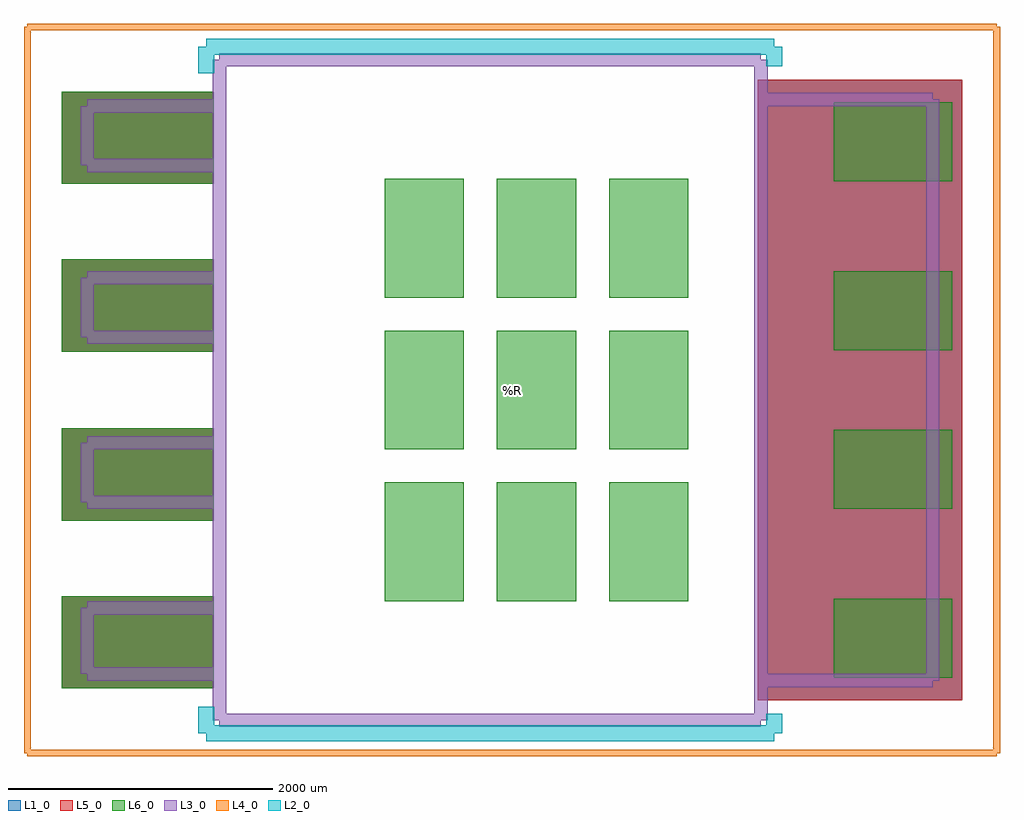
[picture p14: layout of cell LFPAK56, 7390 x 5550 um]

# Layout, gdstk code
import gdstk
lib = gdstk.Library(unit=1e-6, precision=1e-09)
def R(c, l, rs):  # rectangles x0, y0, x1, y1
    for r in rs: c.add(gdstk.rectangle(r[:2], r[2:], *l))
def A(c, l, x, y, w, h, nx, ny, dx, dy):  # array of equal rectangles
    R(c, l, [(x+i*dx, y+j*dy, x+i*dx+w, y+j*dy+h) for i in range(nx) for j in range(ny)])
L1_0 = (1, 0)
L2_0 = (2, 0)
L3_0 = (3, 0)
L4_0 = (4, 0)
L5_0 = (5, 0)
L6_0 = (6, 0)

lfpak56 = lib.new_cell('LFPAK56')
R(lfpak56, L1_0, [(1860,-2350,3410,2350), (-3410,-2260,-2260,-1560), (-3410,-990,-2260,-290), (-3410,290,-2260,990), (-3410,1560,-2260,2260)])
R(lfpak56, L5_0, [(1860,-2350,3410,2350), (-3410,-2260,-2260,-1560), (-3410,-990,-2260,-290), (-3410,290,-2260,990), (-3410,1560,-2260,2260)])
A(lfpak56, L6_0, -965, -1600, 600, 900, 3, 3, 850, 1150)
R(lfpak56, L6_0, [(-3410,-2260,-2260,-1560), (2435,-2180,3335,-1580), (-3410,-990,-2260,-290), (2435,-900,3335,-300), (-3410,290,-2260,990), (2435,300,3335,900), (-3410,1560,-2260,2260), (2435,1580,3335,2180)])
lfpak56.add(gdstk.FlexPath([(-2315,2400),(-2315,2600)], 120, ends="flush", simple_path=True, layer=2, datatype=0))  # L2_0
lfpak56.add(gdstk.FlexPath([(-2315,2600),(1985,2600)], 120, ends="flush", simple_path=True, layer=2, datatype=0))  # L2_0
lfpak56.add(gdstk.FlexPath([(1985,2600),(1985,2450)], 120, ends="flush", simple_path=True, layer=2, datatype=0))  # L2_0
lfpak56.add(gdstk.FlexPath([(1985,-2450),(1985,-2600)], 120, ends="flush", simple_path=True, layer=2, datatype=0))  # L2_0
lfpak56.add(gdstk.FlexPath([(1985,-2600),(-2315,-2600)], 120, ends="flush", simple_path=True, layer=2, datatype=0))  # L2_0
lfpak56.add(gdstk.FlexPath([(-2315,-2600),(-2315,-2400)], 120, ends="flush", simple_path=True, layer=2, datatype=0))  # L2_0
lfpak56.add(gdstk.FlexPath([(-2215,1700),(-3215,1700)], 100, ends="flush", simple_path=True, layer=3, datatype=0))  # L3_0
lfpak56.add(gdstk.FlexPath([(-3215,1700),(-3215,2150)], 100, ends="flush", simple_path=True, layer=3, datatype=0))  # L3_0
lfpak56.add(gdstk.FlexPath([(-3215,2150),(-2215,2150)], 100, ends="flush", simple_path=True, layer=3, datatype=0))  # L3_0
lfpak56.add(gdstk.FlexPath([(-2215,400),(-3215,400)], 100, ends="flush", simple_path=True, layer=3, datatype=0))  # L3_0
lfpak56.add(gdstk.FlexPath([(-3215,400),(-3215,850)], 100, ends="flush", simple_path=True, layer=3, datatype=0))  # L3_0
lfpak56.add(gdstk.FlexPath([(-3215,850),(-2215,850)], 100, ends="flush", simple_path=True, layer=3, datatype=0))  # L3_0
lfpak56.add(gdstk.FlexPath([(-2215,-850),(-3215,-850)], 100, ends="flush", simple_path=True, layer=3, datatype=0))  # L3_0
lfpak56.add(gdstk.FlexPath([(-3215,-850),(-3215,-400)], 100, ends="flush", simple_path=True, layer=3, datatype=0))  # L3_0
lfpak56.add(gdstk.FlexPath([(-3215,-400),(-2215,-400)], 100, ends="flush", simple_path=True, layer=3, datatype=0))  # L3_0
lfpak56.add(gdstk.FlexPath([(-3215,-2150),(-3215,-1650)], 100, ends="flush", simple_path=True, layer=3, datatype=0))  # L3_0
lfpak56.add(gdstk.FlexPath([(-3215,-2150),(-2215,-2150)], 100, ends="flush", simple_path=True, layer=3, datatype=0))  # L3_0
lfpak56.add(gdstk.FlexPath([(-3215,-1650),(-2215,-1650)], 100, ends="flush", simple_path=True, layer=3, datatype=0))  # L3_0
lfpak56.add(gdstk.FlexPath([(3185,-2200),(3185,2200)], 100, ends="flush", simple_path=True, layer=3, datatype=0))  # L3_0
lfpak56.add(gdstk.FlexPath([(3185,2200),(1885,2200)], 100, ends="flush", simple_path=True, layer=3, datatype=0))  # L3_0
lfpak56.add(gdstk.FlexPath([(3185,-2200),(1885,-2200)], 100, ends="flush", simple_path=True, layer=3, datatype=0))  # L3_0
lfpak56.add(gdstk.FlexPath([(1885,-2500),(-2215,-2500)], 100, ends="flush", simple_path=True, layer=3, datatype=0))  # L3_0
lfpak56.add(gdstk.FlexPath([(-2215,-2500),(-2215,2500)], 100, ends="flush", simple_path=True, layer=3, datatype=0))  # L3_0
lfpak56.add(gdstk.FlexPath([(-2215,2500),(1885,2500)], 100, ends="flush", simple_path=True, layer=3, datatype=0))  # L3_0
lfpak56.add(gdstk.FlexPath([(1885,2500),(1885,-2500)], 100, ends="flush", simple_path=True, layer=3, datatype=0))  # L3_0
lfpak56.add(gdstk.FlexPath([(3670,-2750),(3670,2750)], 50, ends="flush", simple_path=True, layer=4, datatype=0))  # L4_0
lfpak56.add(gdstk.FlexPath([(3670,-2750),(-3670,-2750)], 50, ends="flush", simple_path=True, layer=4, datatype=0))  # L4_0
lfpak56.add(gdstk.FlexPath([(-3670,2750),(3670,2750)], 50, ends="flush", simple_path=True, layer=4, datatype=0))  # L4_0
lfpak56.add(gdstk.FlexPath([(-3670,2750),(-3670,-2750)], 50, ends="flush", simple_path=True, layer=4, datatype=0))  # L4_0
lfpak56.add(gdstk.Label('REF**', (-245,-3480), layer=2, texttype=0))
lfpak56.add(gdstk.Label('LFPAK56', (-245,3520), layer=3, texttype=0))
lfpak56.add(gdstk.Label('%R', (0,0), layer=3, texttype=0))

lib.write_gds('LFPAK56.gds')
